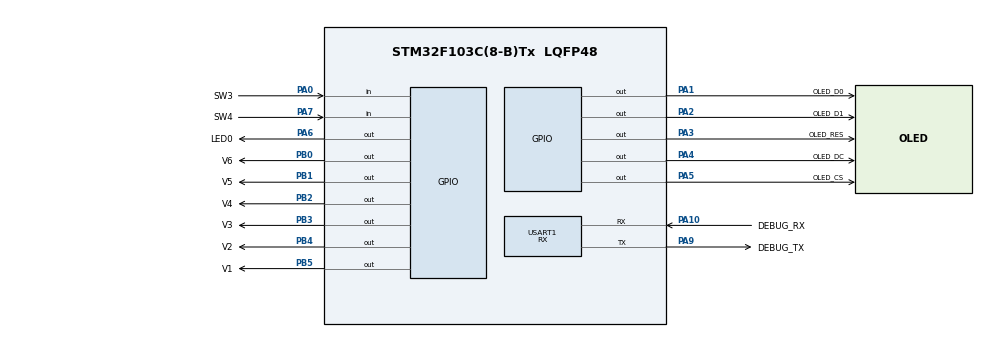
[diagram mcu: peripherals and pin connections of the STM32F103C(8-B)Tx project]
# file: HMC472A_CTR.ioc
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Mcu.Family=STM32F1
Mcu.Name=STM32F103C(8-B)Tx
Mcu.Package=LQFP48
NVIC.PriorityGroup=NVIC_PRIORITYGROUP_4
PA0-WKUP.GPIO_Label=SW3
PA0-WKUP.GPIO_PuPd=GPIO_PULLUP
PA0-WKUP.Signal=GPIO_Input
PA1.GPIO_Label=OLED_D0
PA1.GPIO_ModeDefaultOutputPP=GPIO_MODE_OUTPUT_PP
PA1.GPIO_PuPd=GPIO_PULLUP
PA1.GPIO_Speed=GPIO_SPEED_FREQ_MEDIUM
PA1.Signal=GPIO_Output
PA10.GPIO_Label=DEBUG_RX
PA10.Mode=Asynchronous
PA10.Signal=USART1_RX
PA13.Mode=Serial_Wire
PA13.Signal=SYS_JTMS-SWDIO
PA14.Mode=Serial_Wire
PA14.Signal=SYS_JTCK-SWCLK
PA2.GPIO_Label=OLED_D1
PA2.GPIO_PuPd=GPIO_PULLUP
PA2.GPIO_Speed=GPIO_SPEED_FREQ_MEDIUM
PA2.Signal=GPIO_Output
PA3.GPIO_Label=OLED_RES
PA3.GPIO_PuPd=GPIO_PULLUP
PA3.GPIO_Speed=GPIO_SPEED_FREQ_MEDIUM
PA3.Signal=GPIO_Output
PA4.GPIO_Label=OLED_DC
PA4.GPIO_PuPd=GPIO_PULLUP
PA4.GPIO_Speed=GPIO_SPEED_FREQ_MEDIUM
PA4.Signal=GPIO_Output
PA5.GPIO_Label=OLED_CS
PA5.GPIO_PuPd=GPIO_PULLUP
PA5.GPIO_Speed=GPIO_SPEED_FREQ_MEDIUM
PA5.Signal=GPIO_Output
PA6.GPIO_Label=LED0
PA6.GPIO_ModeDefaultOutputPP=GPIO_MODE_OUTPUT_PP
PA6.GPIO_PuPd=GPIO_PULLUP
PA6.Signal=GPIO_Output
PA7.GPIO_Label=SW4
PA7.GPIO_PuPd=GPIO_PULLUP
PA7.Signal=GPIO_Input
PA9.GPIO_Label=DEBUG_TX
PA9.Mode=Asynchronous
PA9.Signal=USART1_TX
PB0.GPIO_Label=V6
PB0.GPIO_ModeDefaultOutputPP=GPIO_MODE_OUTPUT_PP
PB0.GPIO_PuPd=GPIO_PULLUP
PB0.GPIO_Speed=GPIO_SPEED_FREQ_HIGH
PB0.PinState=GPIO_PIN_SET
PB0.Signal=GPIO_Output
PB1.GPIO_Label=V5
PB1.GPIO_ModeDefaultOutputPP=GPIO_MODE_OUTPUT_PP
PB1.GPIO_PuPd=GPIO_PULLUP
PB1.GPIO_Speed=GPIO_SPEED_FREQ_HIGH
PB1.PinState=GPIO_PIN_SET
PB1.Signal=GPIO_Output
PB2.GPIO_Label=V4
PB2.GPIO_ModeDefaultOutputPP=GPIO_MODE_OUTPUT_PP
PB2.GPIO_PuPd=GPIO_PULLUP
PB2.GPIO_Speed=GPIO_SPEED_FREQ_HIGH
PB2.PinState=GPIO_PIN_SET
PB2.Signal=GPIO_Output
PB3.GPIO_Label=V3
PB3.GPIO_PuPd=GPIO_PULLUP
PB3.GPIO_Speed=GPIO_SPEED_FREQ_HIGH
PB3.PinState=GPIO_PIN_SET
PB3.Signal=GPIO_Output
PB4.GPIO_Label=V2
PB4.GPIO_PuPd=GPIO_PULLUP
PB4.GPIO_Speed=GPIO_SPEED_FREQ_HIGH
PB4.PinState=GPIO_PIN_SET
PB4.Signal=GPIO_Output
PB5.GPIO_Label=V1
PB5.GPIO_PuPd=GPIO_PULLUP
PB5.GPIO_Speed=GPIO_SPEED_FREQ_HIGH
PB5.PinState=GPIO_PIN_SET
PB5.Signal=GPIO_Output
PD0-OSC_IN.Mode=HSE-External-Oscillator
PD0-OSC_IN.Signal=RCC_OSC_IN
PD1-OSC_OUT.Mode=HSE-External-Oscillator
PD1-OSC_OUT.Signal=RCC_OSC_OUT
ProjectManager.HeapSize=0x200
ProjectManager.StackSize=0x400
ProjectManager.TargetToolchain=MDK-ARM V5
RCC.AHBFreq_Value=72000000
RCC.APB1CLKDivider=RCC_HCLK_DIV2
RCC.APB1Freq_Value=36000000
RCC.APB1TimFreq_Value=72000000
RCC.APB2Freq_Value=72000000
RCC.APB2TimFreq_Value=72000000
RCC.HCLKFreq_Value=72000000
RCC.PLLMUL=RCC_PLL_MUL9
RCC.PLLSourceVirtual=RCC_PLLSOURCE_HSE
RCC.SYSCLKFreq_VALUE=72000000
RCC.SYSCLKSource=RCC_SYSCLKSOURCE_PLLCLK
RCC.USBFreq_Value=72000000
USART1.Mode=MODE_RX
USART1.VirtualMode=VM_ASYNC
board=custom

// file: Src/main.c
/* USER CODE BEGIN Header */
/**
  ******************************************************************************
  * @file           : main.c
  * @brief          : Main program body
  ******************************************************************************
  * @attention
  *
  * <h2><center>&copy; Copyright (c) 2019 STMicroelectronics.
  * All rights reserved.</center></h2>
  *
  * This software component is licensed by ST under BSD 3-Clause license,
  * the "License"; You may not use this file except in compliance with the
  * License. You may obtain a copy of the License at:
  *                        opensource.org/licenses/BSD-3-Clause
  *
  ******************************************************************************
  */
/* USER CODE END Header */

#include "main.h"
#include "usart.h"
#include "gpio.h"

/* USER CODE BEGIN Includes */
#include "oled.h"
#include "hmc472a.h"
#include "key.h"
#include "bmp.h"
/* USER CODE END Includes */

void SystemClock_Config ( void );
/* USER CODE BEGIN PFP */
void display(void);

/* USER CODE END PFP */

int main ( void )
{
    /* USER CODE BEGIN 1 */
    uint8_t t;
    uint8_t key_value = 0;
    float multi_value = 0.0f;
    char multi[4] = "0.00";
    /* USER CODE END 1 */

    /* MCU Configuration--------------------------------------------------------*/

    /* Reset of all peripherals, Initializes the Flash interface and the Systick. */
    HAL_Init();

    /* Configure the system clock */
    SystemClock_Config();

    /* Initialize all configured peripherals */
    MX_GPIO_Init();
    MX_USART1_UART_Init();
    /* USER CODE BEGIN 2 */
    OLED_Init();
    OLED_DrawBMP(0,0,128,8,BMP);
    HAL_Delay(1000);
    OLED_Clear();

    display();
    /* USER CODE END 2 */

    /* Infinite loop */
    while ( 1 )
    {

        /* USER CODE BEGIN 3 */
        key_value = key_scan(1);

        if(SW3_PRESS == key_value)
        {
            if(multi_value != 31.5f)
            {
                multi_value = multi_value + 0.5;
            }
            else
            {
                multi_value = 0.0f;
            }
        }
        if(SW4_PRESS == key_value)
        {
            if((multi_value != 0.5f) && (multi_value != 0.0f))
            {
                multi_value = multi_value - 0.5;
            }
            else
            {
                multi_value = 31.5f;
            }
        }
        HMC472_Ctr ( multi_value );
        sprintf(multi, "%.2f", multi_value);
        OLED_ShowString ( 60, 6, (uint8_t *)multi, 16 );
        if ( 10 == t )
        {
            t = 0;
            HAL_GPIO_TogglePin ( GPIOA, LED0_Pin );
            printf("Multi: -%.2f\n", multi_value);
        }
        t++;
        HAL_Delay ( 50 );
    }
    /* USER CODE END 3 */
}

void SystemClock_Config ( void )
{
    RCC_OscInitTypeDef RCC_OscInitStruct = {0};
    RCC_ClkInitTypeDef RCC_ClkInitStruct = {0};

    /** Initializes the CPU, AHB and APB busses clocks
    */
    RCC_OscInitStruct.OscillatorType = RCC_OSCILLATORTYPE_HSE;
    RCC_OscInitStruct.HSEState = RCC_HSE_ON;
    RCC_OscInitStruct.HSEPredivValue = RCC_HSE_PREDIV_DIV1;
    RCC_OscInitStruct.HSIState = RCC_HSI_ON;
    RCC_OscInitStruct.PLL.PLLState = RCC_PLL_ON;
    RCC_OscInitStruct.PLL.PLLSource = RCC_PLLSOURCE_HSE;
    RCC_OscInitStruct.PLL.PLLMUL = RCC_PLL_MUL9;
    if ( HAL_RCC_OscConfig ( &RCC_OscInitStruct ) != HAL_OK )
    {
        Error_Handler();
    }
    /** Initializes the CPU, AHB and APB busses clocks
    */
    RCC_ClkInitStruct.ClockType = RCC_CLOCKTYPE_HCLK | RCC_CLOCKTYPE_SYSCLK
                                  | RCC_CLOCKTYPE_PCLK1 | RCC_CLOCKTYPE_PCLK2;
    RCC_ClkInitStruct.SYSCLKSource = RCC_SYSCLKSOURCE_PLLCLK;
    RCC_ClkInitStruct.AHBCLKDivider = RCC_SYSCLK_DIV1;
    RCC_ClkInitStruct.APB1CLKDivider = RCC_HCLK_DIV2;
    RCC_ClkInitStruct.APB2CLKDivider = RCC_HCLK_DIV1;

    if ( HAL_RCC_ClockConfig ( &RCC_ClkInitStruct, FLASH_LATENCY_2 ) != HAL_OK )
    {
        Error_Handler();
    }
}

/* USER CODE BEGIN 4 */
// 固定显示部分
void display()
{
    OLED_ShowString ( 4, 0, ( uint8_t * ) "ATTENUATOR TEST", 16 );
    OLED_ShowString ( 4, 2, (uint8_t *)" SW3:+   SW4:-", 16 );
    OLED_ShowString ( 4, 6, ( uint8_t * ) "Multi:-     dB", 16 );
}
/* USER CODE END 4 */

void Error_Handler ( void )
{
}

/************************ (C) COPYRIGHT STMicroelectronics *****END OF FILE****/
